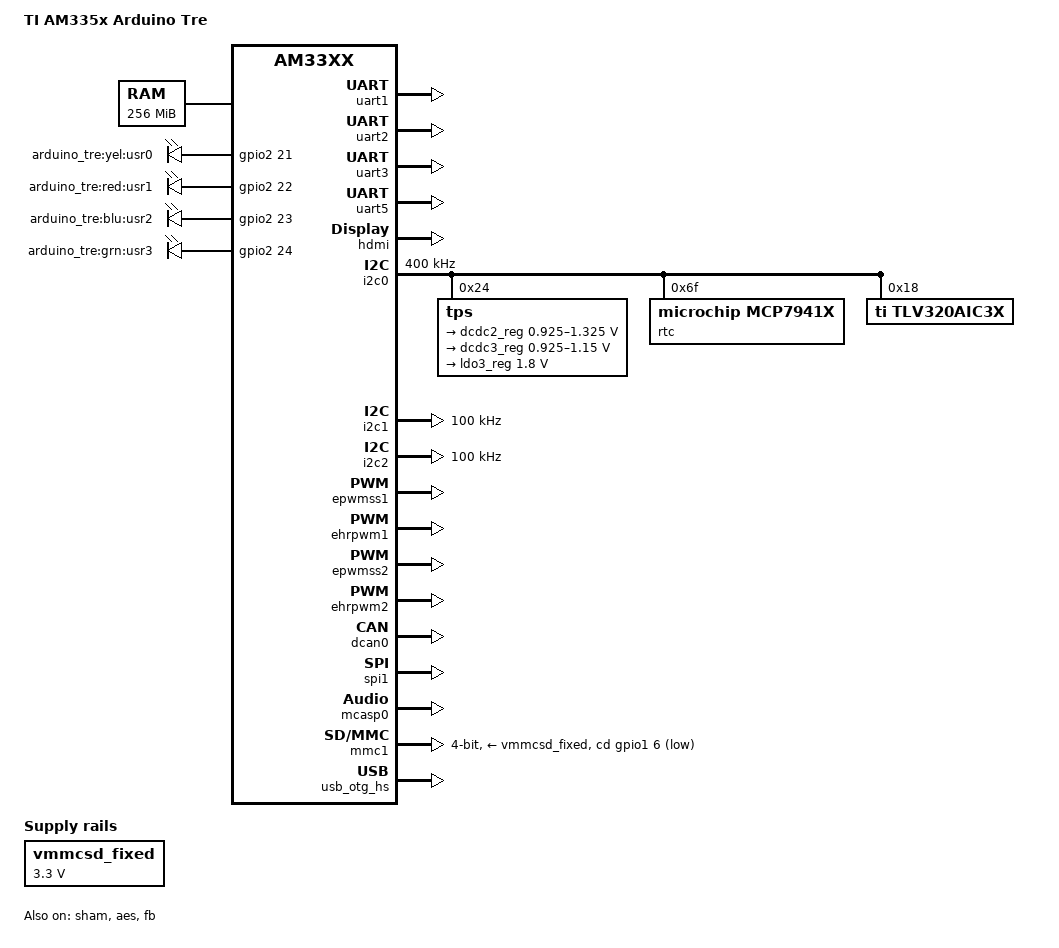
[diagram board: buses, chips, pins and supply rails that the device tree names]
/*
 * Copyright (C) 2012 Texas Instruments Incorporated -
 *http://www.ti.com/
 *
 * This program is free software; you can redistribute it and/or modify
 * it under the terms of the GNU General Public License version 2 as
 * published by the Free Software Foundation.
 */
/dts-v1/;

/include/ "am33xx.dtsi"

/ {
	model = "TI AM335x Arduino Tre";
	compatible = "ti,am335x-boneblack", "ti,am335x-bone", "ti,am33xx";

	cpus {
		cpu@0 {
			cpu0-supply = <&dcdc2_reg>;
		};
	};

	memory {
		device_type = "memory";
		reg = <0x80000000 0x10000000>; /* 512 MB */
	};

	am33xx_pinmux: pinmux@44e10800 {
		pinctrl-names = "default";
		pinctrl-0 = <&userled_pins>;

		userled_pins: pinmux_userled_pins {
			pinctrl-single,pins = <
				0x54 0x7        /* gpmc_a5.gpio1_21, OUTPUT	  | MODE7 */
				0x58 0x17       /* gpmc_a6.gpio1_22, OUTPUT_PULLUP | MODE7 */
				0x5c 0x7        /* gpmc_a7.gpio1_23, OUTPUT	  | MODE7 */
				0x60 0x17       /* gpmc_a8.gpio1_24, OUTPUT_PULLUP | MODE7 */
			>;
		};

		i2c0_pins: pinmux_i2c0_pins {
			pinctrl-single,pins = <
				0x188 0x70      /* i2c0_sda, SLEWCTRL_SLOW | INPUT_PULLUP | MODE0 */
				0x18c 0x70      /* i2c0_scl, SLEWCTRL_SLOW | INPUT_PULLUP | MODE0 */
			>;
		};

		i2c1_pins: pinmux_i2c1_pins {
			pinctrl-single,pins = <
				0x158 0x72 	/*spi0_d1-i2c1_sda,SLEWCTRL_SLOW | INPUT_PULLUP | MODE2*/
				0x15c 0x72	/*spi0_cs0-i2c1_scl,SLEWCTRL_SLOW | INPUT_PULLUP |MODE2*/
			>;
		};

		i2c2_pins: pinmux_i2c2_pins {
			pinctrl-single,pins = <
				0x150 0x72 	/*spi0_scl.i2c2_sda,SLEWCTRL_SLOW | INPUT_PULLUP |MODE2*/
				0x154 0x72	/*spi0_d0.i2c2_scl,SLEWCTRL_SLOW | INPUT_PULLUP | MODE2*/
			>;
		};

		spi1_pins: pinmux_spi1_pins {
			pinctrl-single,pins = <
				0x168 0x14 	/* MOSI1 OUTPUT_PULLUP | MODE0 */
				0x16c 0x34	/* MISO1 INPUT_PULLUP | MODE0 */
				0x108 0x12 	/* SCK1	 OUTPUT_PULLUP | MODE0 */
				0x164 0x12	/* SS1	 OUTPUT_PULLUP | MODE0 */
			>;
		};

		mmc1_pins: pinmux_mmc1_pins {
			pinctrl-single,pins = <
				0x160 0x2f	/* GPIO0_6 (PIN_INPUT | MUX_MODE7) */
			>;
		};

		uart1_pins: pinmux_uart1_pins {
			pinctrl-single,pins = <
				0x170 0x30	/* UART0_rxd PULL_UP | MODE0 */
				0x174 0x00	/* UART0_txd 	MODE0 */
			>;
		};

		uart2_pins: pinmux_uart2_pins {
			pinctrl-single,pins = <
				0x180 0x30	/* UART1_rxd PULL_UP | MODE0 */
				0x184 0x00	/* UART1_txd 	MODE0 */
			>;
		};

		uart3_pins: pinmux_uart3_pins {
			pinctrl-single,pins = <
				0x12c 0x31	/* UART2_rxd PULL_UP | MODE1 */
				0x130 0x01	/* UART2_txd 	MODE1 */
			>;
		};

		uart5_pins: pinmux_uart5_pins {
			pinctrl-single,pins = <
				0x70 0x36	/* UART4_rxd PULL_UP | MODE6 */
				0x74 0x06	/* UART4_txd 	MODE6 */
			>;
		};

		can_bus_pins: pinmux_can_bus_pins {
			pinctrl-single,pins = <
				0x120 0x31	/* DCAN0_RX	MODE1 */
				0x11c 0x01	/* DCAN0_TX	MODE1 */
			>;
		};

		tre_ehrpwm1_pins: pinmux_tre_ehrpwm1_pins {
			pinctrl-single,pins = <
				0x48 0x06	/* PWM1A	~102	MODE6 */
				0x4c 0x06	/* PWM1B	~103	MODE6 */
			>;
		};

		tre_ehrpwm2_pins: pinmux_tre_ehrpwm2_pins {
			pinctrl-single,pins = <
				0x20 0x04	/* PWM2A	~100	MODE4 */
				0x24 0x04	/* PWM2B	~101	MODE4 */
			>;
		};

		tre_gpio_pins: pinmux_tre_gpio_pins {
			pinctrl-single,pins = < /* PIN | Linux  | MODE  */
			/*	0x20 0x27	  ~100 | 22	| MODE7 */
			/*	0x24 0x27	  ~101 | 23	| MODE7 */
			/*	0x48 0x27	  ~102 | 50	| MODE7 */
			/*	0x4c 0x27	  ~103 | 51	| MODE7 */
				0x00 0x27	/* 104 | 32	| MODE7 */
				0x04 0x27	/* 105 | 33	| MODE7 */
				0x08 0x27	/* 106 | 34	| MODE7 */
				0x0c 0x27	/* 107 | 35	| MODE7 */
				0x10 0x27	/* 108 | 36	| MODE7 */
				0x14 0x27	/* 109 | 37	| MODE7 */
				0x18 0x27	/* 110 | 38	| MODE7 */
				0x1c 0x27	/* 111 | 39	| MODE7 */
				0x88 0x27	/* 112 | 64	| MODE7 */
				0x98 0x27	/* 113 | 68	| MODE7 */
				0x94 0x27	/* 114 | 67	| MODE7 */
				0x90 0x27	/* 115 | 66	| MODE7 */
				0x28 0x27	/* 116 | 26	| MODE7 */
				0x1a0 0x27	/* 117 | 114	| MODE7 */
				0x1a4 0x27	/* 118 | 115	| MODE7 */
				0x1a8 0x27	/* 119 | 116	| MODE7 */
				0x80 0x27	/* 120 | 62	| MODE7 */
				0x84 0x27	/* 121 | 63	| MODE7 */
				0x30 0x27	/* 122 | 44	| MODE7 */
				0x34 0x27	/* 123 | 45	| MODE7 */
				0x38 0x27	/* 124 | 46	| MODE7 */
				0x3c 0x27	/* 125 | 47	| MODE7 */
				0x1b0 0x27	/* 126 | 19	| MODE7 */
				0x1b4 0x27	/* 127 | 20	| MODE7 */
			>;
		};

		nxp_hdmi_bonelt_pins: nxp_hdmi_bonelt_pins {
			pinctrl-single,pins = <
				0xa0 0x08       /* lcd_data0.lcd_data0, OMAP_MUX_MODE0 | AM33XX_PIN_OUTPUT | AM33XX_PULL_DISA */
				0xa4 0x08       /* lcd_data1.lcd_data1, OMAP_MUX_MODE0 | AM33XX_PIN_OUTPUT | AM33XX_PULL_DISA */
				0xa8 0x08       /* lcd_data2.lcd_data2, OMAP_MUX_MODE0 | AM33XX_PIN_OUTPUT | AM33XX_PULL_DISA */
				0xac 0x08       /* lcd_data3.lcd_data3, OMAP_MUX_MODE0 | AM33XX_PIN_OUTPUT | AM33XX_PULL_DISA */
				0xb0 0x08       /* lcd_data4.lcd_data4, OMAP_MUX_MODE0 | AM33XX_PIN_OUTPUT | AM33XX_PULL_DISA */
				0xb4 0x08       /* lcd_data5.lcd_data5, OMAP_MUX_MODE0 | AM33XX_PIN_OUTPUT | AM33XX_PULL_DISA */
				0xb8 0x08       /* lcd_data6.lcd_data6, OMAP_MUX_MODE0 | AM33XX_PIN_OUTPUT | AM33XX_PULL_DISA */
				0xbc 0x08       /* lcd_data7.lcd_data7, OMAP_MUX_MODE0 | AM33XX_PIN_OUTPUT | AM33XX_PULL_DISA */
				0xc0 0x08       /* lcd_data8.lcd_data8, OMAP_MUX_MODE0 | AM33XX_PIN_OUTPUT | AM33XX_PULL_DISA */
				0xc4 0x08       /* lcd_data9.lcd_data9, OMAP_MUX_MODE0 | AM33XX_PIN_OUTPUT | AM33XX_PULL_DISA */
				0xc8 0x08       /* lcd_data10.lcd_data10, OMAP_MUX_MODE0 | AM33XX_PIN_OUTPUT | AM33XX_PULL_DISA */
				0xcc 0x08       /* lcd_data11.lcd_data11, OMAP_MUX_MODE0 | AM33XX_PIN_OUTPUT | AM33XX_PULL_DISA */
				0xd0 0x08       /* lcd_data12.lcd_data12, OMAP_MUX_MODE0 | AM33XX_PIN_OUTPUT | AM33XX_PULL_DISA */
				0xd4 0x08       /* lcd_data13.lcd_data13, OMAP_MUX_MODE0 | AM33XX_PIN_OUTPUT | AM33XX_PULL_DISA */
				0xd8 0x08       /* lcd_data14.lcd_data14, OMAP_MUX_MODE0 | AM33XX_PIN_OUTPUT | AM33XX_PULL_DISA */
				0xdc 0x08       /* lcd_data15.lcd_data15, OMAP_MUX_MODE0 | AM33XX_PIN_OUTPUT | AM33XX_PULL_DISA */
				0xe0 0x00       /* lcd_vsync.lcd_vsync, OMAP_MUX_MODE0 | AM33XX_PIN_OUTPUT */
				0xe4 0x00       /* lcd_hsync.lcd_hsync, OMAP_MUX_MODE0 | AM33XX_PIN_OUTPUT */
				0xe8 0x00       /* lcd_pclk.lcd_pclk, OMAP_MUX_MODE0 | AM33XX_PIN_OUTPUT */
				0xec 0x00       /* lcd_ac_bias_en.lcd_ac_bias_en, OMAP_MUX_MODE0 | AM33XX_PIN_OUTPUT */
			>;
		};

		tre_audio_pins: pinmux_tre_audio_pins {
		       pinctrl-single,pins = <
			       0x1ac 0x00	/*mcasp0_ahclkx       (AUD_MCLK)->12MHz, INPUT | MODE0*/
			       0x190 0x20	/* mcasp0_aclkx        (AUD_BCLK)->, 	 INPUT | MODE0*/
			       0x194 0x20	/* mcasp0_fsx          (AUD_FSX)-> , 	 INPUT | MODE0*/
			       0x198 0x20	/* mcasp0_axr0         (AUD_DIN)<-, 	 INPUT | MODE0*/
			       0x19c 0x22	/* mcasp0_ahclkr-_axr2 (AUD_DOUT)->, 	       | MODE2*/

		       >;
	       };
	};

	ocp: ocp {

		uart1: serial@44e09000 {
			pinctrl-names = "default";
			pinctrl-0 = <&uart1_pins>;
			status = "okay";
		};

		uart2: serial@48022000 {
			pinctrl-names = "default";
			pinctrl-0 = <&uart2_pins>;
			status = "okay";
		};

		uart3: serial@48024000 {
			pinctrl-names = "default";
			pinctrl-0 = <&uart3_pins>;
			status = "okay";
		};

		uart5: serial@481a8000 {
			pinctrl-names = "default";
			pinctrl-0 = <&uart5_pins>;
			status = "okay";
		};

		gpio-leds {
			compatible = "gpio-leds";
			pinctrl-names = "default";
			pinctrl-0 = <&userled_pins>;

			led0 {
				label = "arduino_tre:yel:usr0";
				gpios = <&gpio2 21 0>;
				linux,default-trigger = "mmc0";
				default-state = "off";
			};

			led1 {
				label = "arduino_tre:red:usr1";
				gpios = <&gpio2 22 0>;
				linux,default-trigger = "none";
				default-state = "off";
			};

			led2 {
				label = "arduino_tre:blu:usr2";
				gpios = <&gpio2 23 0>;
				linux,default-trigger = "none";
				default-state = "off";
			};

			led3 {
				label = "arduino_tre:grn:usr3";
				gpios = <&gpio2 24 0>;
				linux,default-trigger = "cpu0";
				default-state = "off";
			};
		};

		gpio_export {
			compatible = "gpio-of-helper";
			status = "okay";
			pinctrl-names = "default";
			pinctrl-0 = <&tre_gpio_pins>;

			/* GPIO 100 - 103 are mapped to PWM */
			/*D100 {
				gpio-name = "100";
				gpio = <&gpio1 22 0>;
				input;
				dir-changeable;
			};
			D101 {
				gpio-name = "101";
				gpio = <&gpio1 23 0>;
				input;
				dir-changeable;
			};
			D102 {
				gpio-name = "102";
				gpio = <&gpio2 18 0>;
				input;
				dir-changeable;
			};
			D103 {
				gpio-name = "103";
				gpio = <&gpio2 19 0>;
				input;
				dir-changeable;
			};*/
			D104 {
				gpio-name = "104";
				gpio = <&gpio2 0 0>;
				input;
				dir-changeable;
			};
			D105 {
				gpio-name = "105";
				gpio = <&gpio2 1 0>;
				input;
				dir-changeable;
			};
			D106 {
				gpio-name = "106";
				gpio = <&gpio2 2 0>;
				input;
				dir-changeable;
			};
			D107 {
				gpio-name = "107";
				gpio = <&gpio2 3 0>;
				input;
				dir-changeable;
			};
			D108 {
				gpio-name = "108";
				gpio = <&gpio2 4 0>;
				input;
				dir-changeable;
			};
			D109 {
				gpio-name = "109";
				gpio = <&gpio2 5 0>;
				input;
				dir-changeable;
			};
			D110 {
				gpio-name = "110";
				gpio = <&gpio2 6 0>;
				input;
				dir-changeable;
			};
			D111 {
				gpio-name = "111";
				gpio = <&gpio2 7 0>;
				input;
				dir-changeable;
			};
			D112 {
				gpio-name = "112";
				gpio = <&gpio3 0 1>;
				input;
				dir-changeable;
			};
			D113 {
				gpio-name = "113";
				gpio = <&gpio3 4 0>;
				input;
				dir-changeable;
			};
			D114 {
				gpio-name = "114";
				gpio = <&gpio3 3 0>;
				input;
				dir-changeable;
			};
			D115 {
				gpio-name = "115";
				gpio = <&gpio3 2 0>;
				input;
				dir-changeable;
			};
			D116 {
				gpio-name = "116";
				gpio = <&gpio1 26 0>;
				input;
				dir-changeable;
			};
			D117 {
				gpio-name = "117";
				gpio = <&gpio4 18 0>;
				input;
				dir-changeable;
			};
			D118 {
				gpio-name = "118";
				gpio = <&gpio4 19 0>;
				input;
				dir-changeable;
			};
			D119 {
				gpio-name = "119";
				gpio = <&gpio4 20 0>;
				input;
				dir-changeable;
			};
			D120 {
				gpio-name = "120";
				gpio = <&gpio2 30 0>;
				input;
				dir-changeable;
			};
			D121 {
				gpio-name = "121";
				gpio = <&gpio2 31 0>;
				input;
				dir-changeable;
			};
			D122 {
				gpio-name = "122";
				gpio = <&gpio2 12 0>;
				input;
				dir-changeable;
			};
			D123 {
				gpio-name = "123";
				gpio = <&gpio2 13 0>;
				input;
				dir-changeable;
			};
			D124 {
				gpio-name = "124";
				gpio = <&gpio2 14 0>;
				input;
				dir-changeable;
			};
			D125 {
				gpio-name = "125";
				gpio = <&gpio2 15 0>;
				input;
				dir-changeable;
			};
			D126 {
				gpio-name = "126";
				gpio = <&gpio1 19 0>;
				input;
				dir-changeable;
			};
			D127 {
				gpio-name = "127";
				gpio = <&gpio1 20 0>;
				input;
				dir-changeable;
			};
		};

		nxptda: nxptda@0 {
			compatible = "nxp,nxptda";
			status = "okay";
		};

		hdmi {
			compatible = "tilcdc,slave";
			pinctrl-names = "default";
			pinctrl-0 = <&nxp_hdmi_bonelt_pins>;
			i2c = <&i2c0>;

			panel-info {
				bpp = <16>;
				ac-bias = <255>;
				ac-bias-intrpt = <0>;
				dma-burst-sz = <16>;
				fdd = <16>;
				sync-edge = <1>;
				sync-ctrl = <1>;
				raster-order = <0>;
				fifo-th = <0>;
				invert-pxl-clk;
			};
		};

		rtc@44e3e000 {
			ti,system-power-controller;
		};

		fb {
			compatible = "ti,am33xx-tilcdc";
			reg = <0x4830e000 0x1000>;
			interrupt-parent = <&intc>;
			interrupts = <36>;
			ti,hwmods = "lcdc";
			ti,allow-non-reduced-blanking-modes;
			status = "okay";
		};

		sound {
			compatible = "ti,da830-evm-audio";
			ti,model = "DA830 EVM";
			ti,audio-codec = <&tlv320aic3x>;
			ti,mcasp-controller = <&mcasp0>;
			ti,codec-clock-rate = <12000000>;
			ti,audio-routing =
				"Headphone Jack",       "HPLOUT",
				"Headphone Jack",       "HPROUT",
				"LINE2L",               "Line In",
				"LINE2R",               "Line In";
		};
	};

	vmmcsd_fixed: fixedregulator@0 {
		compatible = "regulator-fixed";
		regulator-name = "vmmcsd_fixed";
		regulator-min-microvolt = <3300000>;
		regulator-max-microvolt = <3300000>;
	};

};

&i2c0 {
	status = "okay";
	clock-frequency = <400000>;
	pinctrl-names = "default";
	pinctrl-0 = <&i2c0_pins>;

	tps: tps@24 {
		reg = <0x24>;
	};

	rtc@6f {
		compatible = "microchip,mcp7941x";
		reg = <0x6f>;
	};

	tlv320aic3x: tlv320aic3x@18 {
		compatible = "ti,tlv320aic3x";
		reg = <0x18>;
		status = "okay";
	};
};

&i2c1 {
	status = "okay";
	pinctrl-names = "default";
	pinctrl-0 = <&i2c1_pins>;

	clock-frequency = <100000>;
};


&i2c2 {
	status = "okay";
	pinctrl-names = "default";
	pinctrl-0 = <&i2c2_pins>;

	clock-frequency = <100000>;
};

&epwmss1 {
	status = "okay";
};

&ehrpwm1 {
	status = "okay";
	pinctrl-names = "default";
	pinctrl-0 = <&tre_ehrpwm1_pins>;
};

&epwmss2 {
	status = "okay";
};

&ehrpwm2 {
	status = "okay";
	pinctrl-names = "default";
	pinctrl-0 = <&tre_ehrpwm2_pins>;
};

&dcan0 {
	status = "okay";
	pinctrl-names = "default";
	pinctrl-0 = <&can_bus_pins>;
};

&spi1 {
	status = "okay";
	pinctrl-names = "default";
	pinctrl-0 = <&spi1_pins>;
	ti,pindir-d0-out-d1-in = <1>;

	channel@0 {
		#address-cells = <1>;
		#size-cells = <0>;

		compatible = "spidev";

		reg = <0>;
		spi-max-frequency = <16000000>;
		spi-cpha;
	};


	channel@1 {
		#address-cells = <1>;
		#size-cells = <0>;

		compatible = "spidev";

		reg = <1>;
		spi-max-frequency = <16000000>;
	};
};


/include/ "tps65217.dtsi"

&tps {
	ti,pmic-shutdown-controller;

	interrupt-parent = <&intc>;
	interrupts = <7>;	/* NNMI */

	regulators {
		dcdc1_reg: regulator@0 {
			regulator-always-on;
		};

		dcdc2_reg: regulator@1 {
			/* VDD_MPU voltage limits 0.925V - 1.325V with +/-4% tolerance */
			regulator-name = "vdd_mpu";
			regulator-min-microvolt = <925000>;
			regulator-max-microvolt = <1325000>;
			regulator-boot-on;
			regulator-always-on;
		};

		dcdc3_reg: regulator@2 {
			/* VDD_CORE voltage limits 0.925V - 1.15V with +/-4% tolerance */
			regulator-name = "vdd_core";
			regulator-min-microvolt = <925000>;
			regulator-max-microvolt = <1150000>;
			regulator-boot-on;
			regulator-always-on;
		};

		ldo1_reg: regulator@3 {
			regulator-always-on;
		};

		ldo2_reg: regulator@4 {
			regulator-always-on;
		};

		ldo3_reg: regulator@5 {
			regulator-min-microvolt = <1800000>;
			regulator-max-microvolt = <1800000>;
			regulator-always-on;
		};

		ldo4_reg: regulator@6 {
			regulator-always-on;
		};
	};
};

&mcasp0 {
	pinctrl-names = "default";
	pinctrl-0 = <&tre_audio_pins>;

	status = "okay";

	op-mode = <0>;          /* MCASP_IIS_MODE */
	tdm-slots = <2>;
	num-serializer = <16>;
	serial-dir = <  /* 0: INACTIVE, 1: TX, 2: RX */
		2 0 1 0
		0 0 0 0
		0 0 0 0
		0 0 0 0
	>;
	tx-num-evt = <1>;
	rx-num-evt = <1>;
};

&mac {
	slaves = <1>;
};

&cpsw_emac0 {
	phy_id = <&davinci_mdio>, <0>;
};

&cpsw_emac1 {
	phy_id = <&davinci_mdio>, <1>;
};

&mmc1 {
	status = "okay";
	pinctrl-names = "default";
	pinctrl-0 = <&mmc1_pins>;
	bus-width = <0x4>;
	cd-gpios = <&gpio1 6 0>; /* gpio1 is misnamed, 0 == GPIO_ACTIVE_HIGH */
	cd-inverted;
	vmmc-supply = <&vmmcsd_fixed>;
	ti,vcc-aux-disable-is-sleep;
};

&edma {
	ti,edma-xbar-event-map = <32 12>,	/* gpevt2 -> 12 */
				 <30 20>;	/* xdma_event_intr2 -> 20 */
};

&sham {
	status = "okay";
};

&aes {
	status = "okay";
};

&usb_otg_hs {
	interface_type = <1>;
	power = <250>;
	status = "okay";
};

&cpu {
	/*
	* To consider voltage drop between PMIC and SoC,
	* tolerance value is reduced to 2% from 4% and
	* voltage value is increased as a precaution.
	*/
	operating-points = <
		/* kHz    uV */
		1000000	1350000
		800000	1300000
		600000  1112000
		300000   969000
	>;
};
